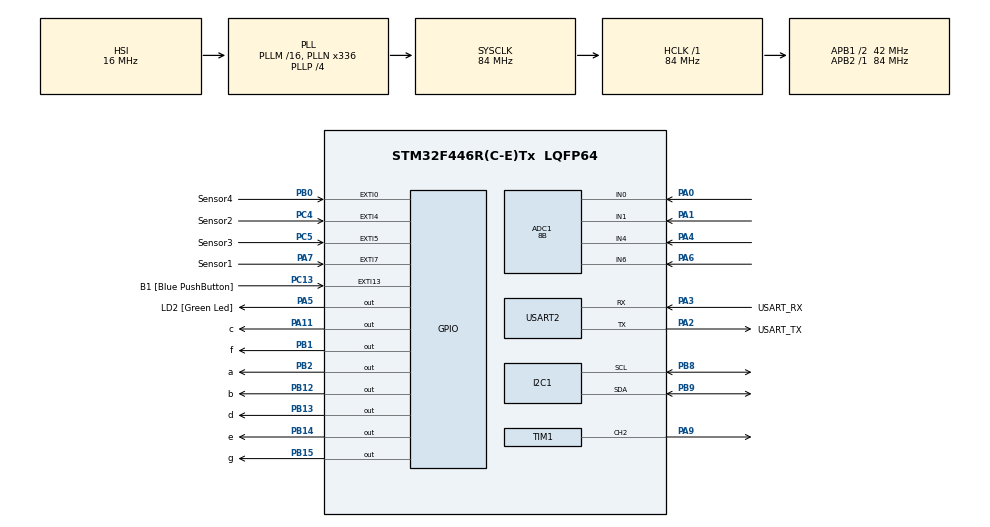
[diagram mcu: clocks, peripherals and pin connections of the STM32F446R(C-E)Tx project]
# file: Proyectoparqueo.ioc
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ADC1.Channel-0\#ChannelRegularConversion=ADC_CHANNEL_0
ADC1.Channel-1\#ChannelRegularConversion=ADC_CHANNEL_1
ADC1.Channel-2\#ChannelRegularConversion=ADC_CHANNEL_4
ADC1.Channel-3\#ChannelRegularConversion=ADC_CHANNEL_6
ADC1.EnableAnalogWatchDog=false
ADC1.NbrOfConversion=4
ADC1.NbrOfConversionFlag=1
ADC1.Rank-0\#ChannelRegularConversion=1
ADC1.Rank-1\#ChannelRegularConversion=2
ADC1.Rank-2\#ChannelRegularConversion=3
ADC1.Rank-3\#ChannelRegularConversion=4
ADC1.Resolution=ADC_RESOLUTION_8B
ADC1.SamplingTime-0\#ChannelRegularConversion=ADC_SAMPLETIME_15CYCLES
ADC1.SamplingTime-1\#ChannelRegularConversion=ADC_SAMPLETIME_15CYCLES
ADC1.SamplingTime-2\#ChannelRegularConversion=ADC_SAMPLETIME_15CYCLES
ADC1.SamplingTime-3\#ChannelRegularConversion=ADC_SAMPLETIME_15CYCLES
ADC1.ScanConvMode=ENABLE
ADC1.master=1
Dma.ADC1.1.Direction=DMA_PERIPH_TO_MEMORY
Dma.ADC1.1.FIFOMode=DMA_FIFOMODE_DISABLE
Dma.ADC1.1.Instance=DMA2_Stream0
Dma.ADC1.1.MemDataAlignment=DMA_MDATAALIGN_HALFWORD
Dma.ADC1.1.MemInc=DMA_MINC_ENABLE
Dma.ADC1.1.Mode=DMA_NORMAL
Dma.ADC1.1.PeriphDataAlignment=DMA_PDATAALIGN_HALFWORD
Dma.ADC1.1.PeriphInc=DMA_PINC_DISABLE
Dma.ADC1.1.Priority=DMA_PRIORITY_LOW
Dma.Request0=TIM1_CH2
Dma.Request1=ADC1
Dma.TIM1_CH2.0.Direction=DMA_MEMORY_TO_PERIPH
Dma.TIM1_CH2.0.FIFOMode=DMA_FIFOMODE_DISABLE
Dma.TIM1_CH2.0.Instance=DMA2_Stream2
Dma.TIM1_CH2.0.MemDataAlignment=DMA_MDATAALIGN_HALFWORD
Dma.TIM1_CH2.0.MemInc=DMA_MINC_ENABLE
Dma.TIM1_CH2.0.Mode=DMA_NORMAL
Dma.TIM1_CH2.0.PeriphDataAlignment=DMA_PDATAALIGN_HALFWORD
Dma.TIM1_CH2.0.PeriphInc=DMA_PINC_DISABLE
Dma.TIM1_CH2.0.Priority=DMA_PRIORITY_LOW
I2C1.OwnAddress=0x35
Mcu.Family=STM32F4
Mcu.Name=STM32F446R(C-E)Tx
Mcu.Package=LQFP64
NVIC.DMA2_Stream0_IRQn=true\:0\:0\:false\:false\:true\:false\:true\:true
NVIC.DMA2_Stream2_IRQn=true\:0\:0\:false\:false\:true\:false\:true\:true
NVIC.EXTI0_IRQn=true\:0\:0\:false\:false\:true\:true\:true\:true
NVIC.EXTI15_10_IRQn=true\:0\:0\:false\:false\:true\:true\:true\:true
NVIC.EXTI4_IRQn=true\:0\:0\:false\:false\:true\:true\:true\:true
NVIC.EXTI9_5_IRQn=true\:0\:0\:false\:false\:true\:true\:true\:true
NVIC.I2C1_ER_IRQn=true\:0\:0\:false\:false\:true\:true\:true\:true
NVIC.I2C1_EV_IRQn=true\:0\:0\:false\:false\:true\:true\:true\:true
NVIC.PriorityGroup=NVIC_PRIORITYGROUP_0
PA0-WKUP.Signal=ADCx_IN0
PA1.Signal=ADCx_IN1
PA11.GPIO_Label=c
PA11.Signal=GPIO_Output
PA13.GPIO_Label=TMS
PA13.Mode=Serial_Wire
PA13.Signal=SYS_JTMS-SWDIO
PA14.GPIO_Label=TCK
PA14.Mode=Serial_Wire
PA14.Signal=SYS_JTCK-SWCLK
PA2.GPIO_Label=USART_TX
PA2.Mode=Asynchronous
PA2.Signal=USART2_TX
PA3.GPIO_Label=USART_RX
PA3.Mode=Asynchronous
PA3.Signal=USART2_RX
PA4.Signal=ADCx_IN4
PA5.GPIO_Label=LD2 [Green Led]
PA5.Signal=GPIO_Output
PA6.Signal=ADCx_IN6
PA7.GPIO_Label=Sensor1
PA7.GPIO_ModeDefaultEXTI=GPIO_MODE_IT_RISING_FALLING
PA7.GPIO_PuPd=GPIO_PULLDOWN
PA7.Signal=GPXTI7
PA9.Signal=S_TIM1_CH2
PB0.GPIO_Label=Sensor4
PB0.GPIO_ModeDefaultEXTI=GPIO_MODE_IT_RISING_FALLING
PB0.GPIO_PuPd=GPIO_PULLDOWN
PB0.Signal=GPXTI0
PB1.GPIO_Label=f
PB1.Signal=GPIO_Output
PB12.GPIO_Label=b
PB12.Signal=GPIO_Output
PB13.GPIO_Label=d
PB13.Signal=GPIO_Output
PB14.GPIO_Label=e
PB14.Signal=GPIO_Output
PB15.GPIO_Label=g
PB15.Signal=GPIO_Output
PB2.GPIO_Label=a
PB2.Signal=GPIO_Output
PB3.GPIO_Label=SWO
PB3.Signal=SYS_JTDO-SWO
PB8.GPIO_Pu=GPIO_PULLUP
PB8.Mode=I2C
PB8.Signal=I2C1_SCL
PB9.GPIO_Pu=GPIO_PULLUP
PB9.Mode=I2C
PB9.Signal=I2C1_SDA
PC13.GPIO_Label=B1 [Blue PushButton]
PC13.GPIO_ModeDefaultEXTI=GPIO_MODE_IT_FALLING
PC13.Signal=GPXTI13
PC14-OSC32_IN.Mode=LSE-External-Oscillator
PC14-OSC32_IN.Signal=RCC_OSC32_IN
PC15-OSC32_OUT.Mode=LSE-External-Oscillator
PC15-OSC32_OUT.Signal=RCC_OSC32_OUT
PC4.GPIO_Label=Sensor2
PC4.GPIO_ModeDefaultEXTI=GPIO_MODE_IT_RISING_FALLING
PC4.GPIO_PuPd=GPIO_PULLDOWN
PC4.Signal=GPXTI4
PC5.GPIO_Label=Sensor3
PC5.GPIO_ModeDefaultEXTI=GPIO_MODE_IT_RISING_FALLING
PC5.GPIO_PuPd=GPIO_PULLDOWN
PC5.Signal=GPXTI5
PH0-OSC_IN.Mode=HSE-External-Oscillator
PH0-OSC_IN.Signal=RCC_OSC_IN
PH1-OSC_OUT.Mode=HSE-External-Oscillator
PH1-OSC_OUT.Signal=RCC_OSC_OUT
ProjectManager.HeapSize=0x200
ProjectManager.StackSize=0x400
ProjectManager.TargetToolchain=STM32CubeIDE
RCC.48MHZClocksFreq_Value=84000000
RCC.AHBFreq_Value=84000000
RCC.APB1CLKDivider=RCC_HCLK_DIV2
RCC.APB1Freq_Value=42000000
RCC.APB1TimFreq_Value=84000000
RCC.APB2Freq_Value=84000000
RCC.APB2TimFreq_Value=84000000
RCC.CortexFreq_Value=84000000
RCC.FLatency-AdvancedSettings=FLASH_LATENCY_2
RCC.HCLKFreq_Value=84000000
RCC.HSE_VALUE=8000000
RCC.HSI_VALUE=16000000
RCC.PLLN=336
RCC.PLLP=RCC_PLLP_DIV4
RCC.SYSCLKFreq_VALUE=84000000
RCC.SYSCLKSource=RCC_SYSCLKSOURCE_PLLCLK
RCC.USBFreq_Value=168000000
RCC.VCOOutputFreq_Value=336000000
SH.ADCx_IN0.0=ADC1_IN0,IN0
SH.ADCx_IN1.0=ADC1_IN1,IN1
SH.ADCx_IN4.0=ADC1_IN4,IN4
SH.ADCx_IN6.0=ADC1_IN6,IN6
SH.S_TIM1_CH2.0=TIM1_CH2,PWM Generation2 CH2
TIM1.Channel-PWM\ Generation2\ CH2=TIM_CHANNEL_2
TIM1.Period=105-1
USART2.VirtualMode=VM_ASYNC
VP_TIM1_VS_ClockSourceINT.Mode=Internal
board=NUCLEO-F446RE

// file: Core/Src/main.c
/* USER CODE BEGIN Header */
/**
  ******************************************************************************
  * @file           : main.c
  * @brief          : Main program body
  ******************************************************************************
  * @attention
  *
  * Copyright (c) 2026 STMicroelectronics.
  * All rights reserved.
  *
  * This software is licensed under terms that can be found in the LICENSE file
  * in the root directory of this software component.
  * If no LICENSE file comes with this software, it is provided AS-IS.
  *
  ******************************************************************************
  */
/* USER CODE END Header */
#include "main.h"

/* USER CODE BEGIN Includes */
#include <stdbool.h>
#include "stdint.h"
#include <stdio.h>
#include "7seg.h"
#include "Neopixel.h"
/* USER CODE END Includes */

ADC_HandleTypeDef hadc1;
DMA_HandleTypeDef hdma_adc1;

I2C_HandleTypeDef hi2c1;

TIM_HandleTypeDef htim1;
DMA_HandleTypeDef hdma_tim1_ch2;

UART_HandleTypeDef huart2;

/* USER CODE BEGIN PV */
float brilloled;
//bool sensor1=true;
//bool sensor2=true;
//bool sensor3=true;
//bool sensor4=true;
volatile uint8_t info=0;//Recepción de info I2C
volatile uint8_t lastinfo=0;
volatile uint16_t disp=4;//Parqueos disponibles.

//Para enviar que sensor se ocupo y cuantos
volatile uint8_t sensoresEstado = 0x00;
//Para cambiar el color de las neopixel
volatile bool actualizarLEDs = true;

#define TXBUFFERSIZE 1
#define RXBUFFERSIZE 1

uint8_t aTxBuffer[TXBUFFERSIZE];
uint8_t aRxBuffer[RXBUFFERSIZE];

volatile uint16_t parqueos_locales[4] = {0};
/* USER CODE END PV */

void SystemClock_Config(void);
static void MX_GPIO_Init(void);
static void MX_DMA_Init(void);
static void MX_USART2_UART_Init(void);
static void MX_I2C1_Init(void);
static void MX_TIM1_Init(void);
static void MX_ADC1_Init(void);

int main(void)
{

  /* MCU Configuration--------------------------------------------------------*/

  /* Reset of all peripherals, Initializes the Flash interface and the Systick. */
  HAL_Init();

  /* Configure the system clock */
  SystemClock_Config();

  /* Initialize all configured peripherals */
  MX_GPIO_Init();
  MX_DMA_Init();
  MX_USART2_UART_Init();
  MX_I2C1_Init();
  MX_TIM1_Init();
  MX_ADC1_Init();
  /* USER CODE BEGIN 2 */
  	  if (HAL_I2C_EnableListen_IT(&hi2c1)!= HAL_OK){
  		  Error_Handler();
  	  }
  	  disp=4;
  	  pixelClear();
  /* USER CODE END 2 */

  /* Infinite loop */
  while (1)
  {

    /* USER CODE BEGIN 3 */
	// Leer sensores analógicos
		HAL_ADC_Start_DMA(&hadc1, (uint32_t*)parqueos_locales, 4);
		HAL_Delay(20);

		// Detectar cambios en los sensores
		uint8_t nuevoEstado = 0;

		for(int i = 0; i < 4; i++)
		{
			if(parqueos_locales[i] >= 200)
			{
				nuevoEstado |= (1 << i);
			}
		}

		// Si el estado cambió, marcar para actualizar LEDs
		if(nuevoEstado != sensoresEstado)
		{
			// Actualizar contador disp
			for(int i = 0; i < 4; i++)
			{
				bool antes = (sensoresEstado & (1 << i)) ? true : false;
				bool ahora = (nuevoEstado & (1 << i)) ? true : false;

				if(antes != ahora)
				{
					if(ahora && disp > 0)
					{
					    disp--;
					}
					else if(!ahora && disp < 4)
					{
					    disp++;
					}
				}
			}

			sensoresEstado = nuevoEstado;
			actualizarLEDs = true;  // ← ¡Aquí se activa de nuevo!
		}

		// Actualizar LEDs si es necesario
		if(actualizarLEDs)
		{
			actualizarLEDs = false;

			for(int i = 0; i < 4; i++)
			{
				if(sensoresEstado & (1 << i))
				{
					setPixelColor(i, 255, 0, 0);
				}
				else
				{
					setPixelColor(i, 0, 255, 0);
				}
			}

			setBrightness(100);
			pixelShow();
			MostrarNumero(disp);  // Actualizar display 7 segmentos
		}

	    HAL_Delay(50);
	}
	      /* USER CODE END 3 */
}

void SystemClock_Config(void)
{
  RCC_OscInitTypeDef RCC_OscInitStruct = {0};
  RCC_ClkInitTypeDef RCC_ClkInitStruct = {0};

  /** Configure the main internal regulator output voltage
  */
  __HAL_RCC_PWR_CLK_ENABLE();
  __HAL_PWR_VOLTAGESCALING_CONFIG(PWR_REGULATOR_VOLTAGE_SCALE3);

  /** Initializes the RCC Oscillators according to the specified parameters
  * in the RCC_OscInitTypeDef structure.
  */
  RCC_OscInitStruct.OscillatorType = RCC_OSCILLATORTYPE_HSI;
  RCC_OscInitStruct.HSIState = RCC_HSI_ON;
  RCC_OscInitStruct.HSICalibrationValue = RCC_HSICALIBRATION_DEFAULT;
  RCC_OscInitStruct.PLL.PLLState = RCC_PLL_ON;
  RCC_OscInitStruct.PLL.PLLSource = RCC_PLLSOURCE_HSI;
  RCC_OscInitStruct.PLL.PLLM = 16;
  RCC_OscInitStruct.PLL.PLLN = 336;
  RCC_OscInitStruct.PLL.PLLP = RCC_PLLP_DIV4;
  RCC_OscInitStruct.PLL.PLLQ = 2;
  RCC_OscInitStruct.PLL.PLLR = 2;
  if (HAL_RCC_OscConfig(&RCC_OscInitStruct) != HAL_OK)
  {
    Error_Handler();
  }

  /** Initializes the CPU, AHB and APB buses clocks
  */
  RCC_ClkInitStruct.ClockType = RCC_CLOCKTYPE_HCLK|RCC_CLOCKTYPE_SYSCLK
                              |RCC_CLOCKTYPE_PCLK1|RCC_CLOCKTYPE_PCLK2;
  RCC_ClkInitStruct.SYSCLKSource = RCC_SYSCLKSOURCE_PLLCLK;
  RCC_ClkInitStruct.AHBCLKDivider = RCC_SYSCLK_DIV1;
  RCC_ClkInitStruct.APB1CLKDivider = RCC_HCLK_DIV2;
  RCC_ClkInitStruct.APB2CLKDivider = RCC_HCLK_DIV1;

  if (HAL_RCC_ClockConfig(&RCC_ClkInitStruct, FLASH_LATENCY_2) != HAL_OK)
  {
    Error_Handler();
  }
}

static void MX_ADC1_Init(void)
{

  ADC_ChannelConfTypeDef sConfig = {0};

  /** Configure the global features of the ADC (Clock, Resolution, Data Alignment and number of conversion)
  */
  hadc1.Instance = ADC1;
  hadc1.Init.ClockPrescaler = ADC_CLOCK_SYNC_PCLK_DIV4;
  hadc1.Init.Resolution = ADC_RESOLUTION_8B;
  hadc1.Init.ScanConvMode = ENABLE;
  hadc1.Init.ContinuousConvMode = DISABLE;
  hadc1.Init.DiscontinuousConvMode = DISABLE;
  hadc1.Init.ExternalTrigConvEdge = ADC_EXTERNALTRIGCONVEDGE_NONE;
  hadc1.Init.ExternalTrigConv = ADC_SOFTWARE_START;
  hadc1.Init.DataAlign = ADC_DATAALIGN_RIGHT;
  hadc1.Init.NbrOfConversion = 4;
  hadc1.Init.DMAContinuousRequests = DISABLE;
  hadc1.Init.EOCSelection = ADC_EOC_SINGLE_CONV;
  if (HAL_ADC_Init(&hadc1) != HAL_OK)
  {
    Error_Handler();
  }

  /** Configure for the selected ADC regular channel its corresponding rank in the sequencer and its sample time.
  */
  sConfig.Channel = ADC_CHANNEL_0;
  sConfig.Rank = 1;
  sConfig.SamplingTime = ADC_SAMPLETIME_15CYCLES;
  if (HAL_ADC_ConfigChannel(&hadc1, &sConfig) != HAL_OK)
  {
    Error_Handler();
  }

  /** Configure for the selected ADC regular channel its corresponding rank in the sequencer and its sample time.
  */
  sConfig.Channel = ADC_CHANNEL_1;
  sConfig.Rank = 2;
  if (HAL_ADC_ConfigChannel(&hadc1, &sConfig) != HAL_OK)
  {
    Error_Handler();
  }

  /** Configure for the selected ADC regular channel its corresponding rank in the sequencer and its sample time.
  */
  sConfig.Channel = ADC_CHANNEL_4;
  sConfig.Rank = 3;
  if (HAL_ADC_ConfigChannel(&hadc1, &sConfig) != HAL_OK)
  {
    Error_Handler();
  }

  /** Configure for the selected ADC regular channel its corresponding rank in the sequencer and its sample time.
  */
  sConfig.Channel = ADC_CHANNEL_6;
  sConfig.Rank = 4;
  if (HAL_ADC_ConfigChannel(&hadc1, &sConfig) != HAL_OK)
  {
    Error_Handler();
  }

}

static void MX_I2C1_Init(void)
{

  hi2c1.Instance = I2C1;
  hi2c1.Init.ClockSpeed = 100000;
  hi2c1.Init.DutyCycle = I2C_DUTYCYCLE_2;
  hi2c1.Init.OwnAddress1 = 106;
  hi2c1.Init.AddressingMode = I2C_ADDRESSINGMODE_7BIT;
  hi2c1.Init.DualAddressMode = I2C_DUALADDRESS_DISABLE;
  hi2c1.Init.OwnAddress2 = 0;
  hi2c1.Init.GeneralCallMode = I2C_GENERALCALL_DISABLE;
  hi2c1.Init.NoStretchMode = I2C_NOSTRETCH_DISABLE;
  if (HAL_I2C_Init(&hi2c1) != HAL_OK)
  {
    Error_Handler();
  }

}

static void MX_TIM1_Init(void)
{

  TIM_ClockConfigTypeDef sClockSourceConfig = {0};
  TIM_MasterConfigTypeDef sMasterConfig = {0};
  TIM_OC_InitTypeDef sConfigOC = {0};
  TIM_BreakDeadTimeConfigTypeDef sBreakDeadTimeConfig = {0};

  htim1.Instance = TIM1;
  htim1.Init.Prescaler = 0;
  htim1.Init.CounterMode = TIM_COUNTERMODE_UP;
  htim1.Init.Period = 105-1;
  htim1.Init.ClockDivision = TIM_CLOCKDIVISION_DIV1;
  htim1.Init.RepetitionCounter = 0;
  htim1.Init.AutoReloadPreload = TIM_AUTORELOAD_PRELOAD_DISABLE;
  if (HAL_TIM_Base_Init(&htim1) != HAL_OK)
  {
    Error_Handler();
  }
  sClockSourceConfig.ClockSource = TIM_CLOCKSOURCE_INTERNAL;
  if (HAL_TIM_ConfigClockSource(&htim1, &sClockSourceConfig) != HAL_OK)
  {
    Error_Handler();
  }
  if (HAL_TIM_PWM_Init(&htim1) != HAL_OK)
  {
    Error_Handler();
  }
  sMasterConfig.MasterOutputTrigger = TIM_TRGO_RESET;
  sMasterConfig.MasterSlaveMode = TIM_MASTERSLAVEMODE_DISABLE;
  if (HAL_TIMEx_MasterConfigSynchronization(&htim1, &sMasterConfig) != HAL_OK)
  {
    Error_Handler();
  }
  sConfigOC.OCMode = TIM_OCMODE_PWM1;
  sConfigOC.Pulse = 0;
  sConfigOC.OCPolarity = TIM_OCPOLARITY_HIGH;
  sConfigOC.OCNPolarity = TIM_OCNPOLARITY_HIGH;
  sConfigOC.OCFastMode = TIM_OCFAST_DISABLE;
  sConfigOC.OCIdleState = TIM_OCIDLESTATE_RESET;
  sConfigOC.OCNIdleState = TIM_OCNIDLESTATE_RESET;
  if (HAL_TIM_PWM_ConfigChannel(&htim1, &sConfigOC, TIM_CHANNEL_2) != HAL_OK)
  {
    Error_Handler();
  }
  sBreakDeadTimeConfig.OffStateRunMode = TIM_OSSR_DISABLE;
  sBreakDeadTimeConfig.OffStateIDLEMode = TIM_OSSI_DISABLE;
  sBreakDeadTimeConfig.LockLevel = TIM_LOCKLEVEL_OFF;
  sBreakDeadTimeConfig.DeadTime = 0;
  sBreakDeadTimeConfig.BreakState = TIM_BREAK_DISABLE;
  sBreakDeadTimeConfig.BreakPolarity = TIM_BREAKPOLARITY_HIGH;
  sBreakDeadTimeConfig.AutomaticOutput = TIM_AUTOMATICOUTPUT_DISABLE;
  if (HAL_TIMEx_ConfigBreakDeadTime(&htim1, &sBreakDeadTimeConfig) != HAL_OK)
  {
    Error_Handler();
  }
  HAL_TIM_MspPostInit(&htim1);

}

static void MX_USART2_UART_Init(void)
{

  huart2.Instance = USART2;
  huart2.Init.BaudRate = 115200;
  huart2.Init.WordLength = UART_WORDLENGTH_8B;
  huart2.Init.StopBits = UART_STOPBITS_1;
  huart2.Init.Parity = UART_PARITY_NONE;
  huart2.Init.Mode = UART_MODE_TX_RX;
  huart2.Init.HwFlowCtl = UART_HWCONTROL_NONE;
  huart2.Init.OverSampling = UART_OVERSAMPLING_16;
  if (HAL_UART_Init(&huart2) != HAL_OK)
  {
    Error_Handler();
  }

}

static void MX_DMA_Init(void)
{

  /* DMA controller clock enable */
  __HAL_RCC_DMA2_CLK_ENABLE();

  /* DMA interrupt init */
  /* DMA2_Stream0_IRQn interrupt configuration */
  HAL_NVIC_SetPriority(DMA2_Stream0_IRQn, 0, 0);
  HAL_NVIC_EnableIRQ(DMA2_Stream0_IRQn);
  /* DMA2_Stream2_IRQn interrupt configuration */
  HAL_NVIC_SetPriority(DMA2_Stream2_IRQn, 0, 0);
  HAL_NVIC_EnableIRQ(DMA2_Stream2_IRQn);

}

static void MX_GPIO_Init(void)
{
  GPIO_InitTypeDef GPIO_InitStruct = {0};

  /* GPIO Ports Clock Enable */
  __HAL_RCC_GPIOC_CLK_ENABLE();
  __HAL_RCC_GPIOH_CLK_ENABLE();
  __HAL_RCC_GPIOA_CLK_ENABLE();
  __HAL_RCC_GPIOB_CLK_ENABLE();

  /*Configure GPIO pin Output Level */
  HAL_GPIO_WritePin(GPIOA, LD2_Pin|c_Pin, GPIO_PIN_RESET);

  /*Configure GPIO pin Output Level */
  HAL_GPIO_WritePin(GPIOB, f_Pin|a_Pin|b_Pin|d_Pin
                          |e_Pin|g_Pin, GPIO_PIN_RESET);

  /*Configure GPIO pin : B1_Pin */
  GPIO_InitStruct.Pin = B1_Pin;
  GPIO_InitStruct.Mode = GPIO_MODE_IT_FALLING;
  GPIO_InitStruct.Pull = GPIO_NOPULL;
  HAL_GPIO_Init(B1_GPIO_Port, &GPIO_InitStruct);

  /*Configure GPIO pins : LD2_Pin c_Pin */
  GPIO_InitStruct.Pin = LD2_Pin|c_Pin;
  GPIO_InitStruct.Mode = GPIO_MODE_OUTPUT_PP;
  GPIO_InitStruct.Pull = GPIO_NOPULL;
  GPIO_InitStruct.Speed = GPIO_SPEED_FREQ_LOW;
  HAL_GPIO_Init(GPIOA, &GPIO_InitStruct);

  /*Configure GPIO pin : Sensor1_Pin */
  GPIO_InitStruct.Pin = Sensor1_Pin;
  GPIO_InitStruct.Mode = GPIO_MODE_IT_RISING_FALLING;
  GPIO_InitStruct.Pull = GPIO_PULLDOWN;
  HAL_GPIO_Init(Sensor1_GPIO_Port, &GPIO_InitStruct);

  /*Configure GPIO pins : Sensor2_Pin Sensor3_Pin */
  GPIO_InitStruct.Pin = Sensor2_Pin|Sensor3_Pin;
  GPIO_InitStruct.Mode = GPIO_MODE_IT_RISING_FALLING;
  GPIO_InitStruct.Pull = GPIO_PULLDOWN;
  HAL_GPIO_Init(GPIOC, &GPIO_InitStruct);

  /*Configure GPIO pin : Sensor4_Pin */
  GPIO_InitStruct.Pin = Sensor4_Pin;
  GPIO_InitStruct.Mode = GPIO_MODE_IT_RISING_FALLING;
  GPIO_InitStruct.Pull = GPIO_PULLDOWN;
  HAL_GPIO_Init(Sensor4_GPIO_Port, &GPIO_InitStruct);

  /*Configure GPIO pins : f_Pin a_Pin b_Pin d_Pin
                           e_Pin g_Pin */
  GPIO_InitStruct.Pin = f_Pin|a_Pin|b_Pin|d_Pin
                          |e_Pin|g_Pin;
  GPIO_InitStruct.Mode = GPIO_MODE_OUTPUT_PP;
  GPIO_InitStruct.Pull = GPIO_NOPULL;
  GPIO_InitStruct.Speed = GPIO_SPEED_FREQ_LOW;
  HAL_GPIO_Init(GPIOB, &GPIO_InitStruct);

  /* EXTI interrupt init*/
  HAL_NVIC_SetPriority(EXTI0_IRQn, 0, 0);
  HAL_NVIC_EnableIRQ(EXTI0_IRQn);

  HAL_NVIC_SetPriority(EXTI4_IRQn, 0, 0);
  HAL_NVIC_EnableIRQ(EXTI4_IRQn);

  HAL_NVIC_SetPriority(EXTI9_5_IRQn, 0, 0);
  HAL_NVIC_EnableIRQ(EXTI9_5_IRQn);

  HAL_NVIC_SetPriority(EXTI15_10_IRQn, 0, 0);
  HAL_NVIC_EnableIRQ(EXTI15_10_IRQn);

}

/* USER CODE BEGIN 4 */
//void HAL_GPIO_EXTI_Callback(uint16_t GPIO_Pin){
//	if(GPIO_Pin==Sensor1_Pin){
//		sensor1= HAL_GPIO_ReadPin(Sensor1_GPIO_Port, Sensor1_Pin);
//		if(sensor1){
//			if(disp > 0){
//				disp--;
//			}
//			sensoresEstado |= (1 << 0);
//			setPixelColor(0, 255, 0, 0);
//			setBrightness(100);
//			//pixelShow();
//		}else{
//			if(disp < 8){
//				disp++;
//			}
//			sensoresEstado &= ~(1 << 0);
//			setPixelColor(0, 0, 255, 0);//Verdee
//			setBrightness(100);
//			//pixelShow();
//		}
//	}
//	if(GPIO_Pin==Sensor2_Pin){
//		sensor2=HAL_GPIO_ReadPin(Sensor2_GPIO_Port, Sensor2_Pin);
//		if(sensor2){
//			if(disp > 0){
//				disp--;
//			}
//			sensoresEstado |= (1 << 1);
//			setPixelColor(1, 255, 0, 0);
//			setBrightness(100);
//		}else{
//			if(disp < 8){
//				disp++;
//			}
//			sensoresEstado &= ~(1 << 1);
//			setPixelColor(0, 0, 255, 0);//Verdee
//			setBrightness(100);
//		}
//	}
//	if(GPIO_Pin==Sensor3_Pin){
//		sensor3=HAL_GPIO_ReadPin(Sensor3_GPIO_Port, Sensor3_Pin);
//		if(sensor3){
//			if(disp > 0){
//				disp--;
//			}
//			sensoresEstado |= (1 << 2);
//			setPixelColor(2, 255, 0, 0);
//			setBrightness(100);
//		}else{
//			if(disp < 8){
//				disp++;
//			}
//			sensoresEstado &= ~(1 << 2);
//			setPixelColor(, 0, 255, 0);//Verdee
//			setBrightness(100);
//		}
//	}
//	if(GPIO_Pin==Sensor4_Pin){
//		sensor4=HAL_GPIO_ReadPin(Sensor4_GPIO_Port, Sensor4_Pin);
//		if(sensor4){
//			if(disp > 0){
//				disp--;
//			}
//			sensoresEstado |= (1 << 3);
//			setPixelColor(3, 255, 0, 0);
//			setBrightness(100);
//		}else{
//			if(disp < 8){
//				disp++;
//			}
//			sensoresEstado &= ~(1 << 3);
//			setPixelColor(3, 0, 255, 0);//Verdee
//			setBrightness(100);
//		}
//	}
//	actualizarLEDs = true;
//}

//I2C CallBack
void HAL_I2C_ListenCpltCallback(I2C_HandleTypeDef *hi2c){
	HAL_I2C_EnableListen_IT(hi2c);
}
//I2C Recepcion de datos
void HAL_I2C_SlaveRxCpltCallback(I2C_HandleTypeDef *I2cHandle){
	// nos dio informacion
	info=aRxBuffer[0];
	// Se ocuparon más lugares
	if(info > lastinfo){
		if(disp >= (info - lastinfo)){
			disp -= (info - lastinfo);
		}
	}
	// Se liberaron lugares
	else if(info < lastinfo){
		disp += (lastinfo - info);
	}
	// Actualizamos el ultimo valor
	lastinfo = info;
	// Limite máximo
	if(disp > 8){
		disp = 8;
	}
}

void HAL_I2C_AddrCallback(I2C_HandleTypeDef *hi2c, uint8_t TransferDirection, uint16_t AddrMatchCode){
	//Maestro transmite
	if(TransferDirection== I2C_DIRECTION_TRANSMIT){
		if(HAL_I2C_Slave_Seq_Receive_IT(hi2c, (uint8_t*)aRxBuffer, 1, I2C_FIRST_AND_LAST_FRAME)!=HAL_OK){
			Error_Handler();
		}
	}//Maestro recibira
	else if(TransferDirection== I2C_DIRECTION_RECEIVE){
		aTxBuffer[0] = sensoresEstado;
		if(HAL_I2C_Slave_Seq_Transmit_IT(hi2c,(uint8_t*)aTxBuffer , 1, I2C_FIRST_AND_LAST_FRAME)!=HAL_OK){
			Error_Handler();
		}
	}

}
void HAL_I2C_ErrorCallback(I2C_HandleTypeDef *I2cHandle){
	if(HAL_I2C_GetError(I2cHandle)!= HAL_I2C_ERROR_AF){
		Error_Handler();
	}
}
/* USER CODE END 4 */

void Error_Handler(void)
{
	__disable_irq();
	while (1){
	}
}
